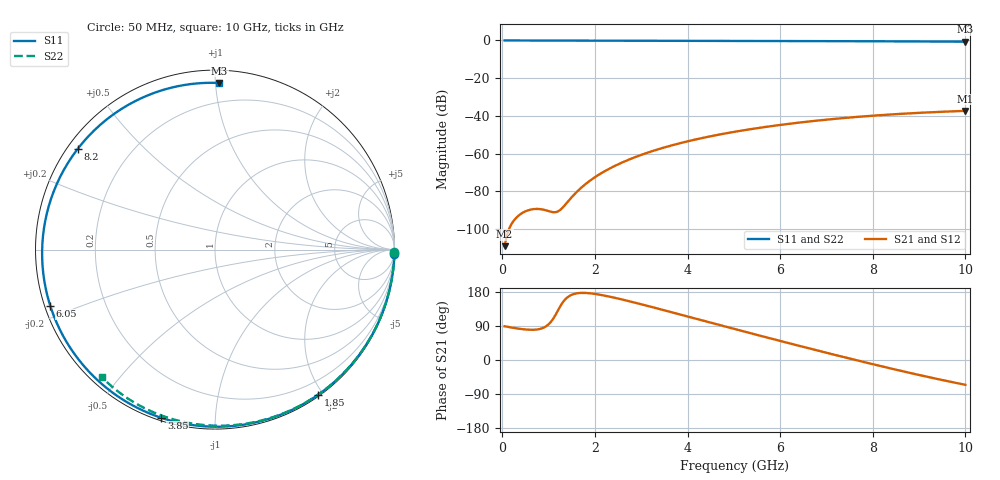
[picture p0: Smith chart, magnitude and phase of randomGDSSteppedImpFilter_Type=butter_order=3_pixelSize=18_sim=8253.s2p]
! freq	dB(S11)	phase(S11)	dB(S12)	phase(S12)
!  dB(S21)	phase(S21)	dB(S22)	phase(S22)
!S-par simulation data
#  GHz  S  DB  R 50
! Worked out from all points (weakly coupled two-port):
!   200 points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, 50 MHz to 10 GHz, reference 50 ohm
!   highest |S21| = -37.35 dB at 10 GHz (marker M1); lowest = -109.2 dB at 50 MHz (marker M2)
!   lowest |S11| = -0.6 dB at 10 GHz (marker M3), VSWR 27.05, Z = 3.79 + j51.2 ohm
!   |S11| at or under -10 dB: nowhere
!   |S22| runs from -0.4 to 0.0 dB; largest |S21 - S12| = 0
!   S11 on the Smith chart (normalised r, x): 50 MHz: 0, -75; 1.85 GHz: 0.02, -1.94; 3.85 GHz: 0.01, -0.73; 6.05 GHz: 0.02, -0.17; 8.2 GHz: 0.03, +0.33; 10 GHz: 0.08, +1.02
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0.05  -0.00 -1.5  -109.16 89.0  -109.16 89.0  -0.00 -0.8
0.8  -0.03 -24.1  -89.45 81.6  -89.45 81.6  -0.02 -12.1
1.6  -0.06 -47.5  -80.56 175.7  -80.56 175.7  -0.03 -24.0
1.75  -0.07 -51.7  -77.17 177.1  -77.17 177.1  -0.03 -26.2
1.85  -0.07 -54.6  -75.20 176.5  -75.20 176.5  -0.04 -27.7
2.15  -0.08 -63.0  -70.25 171.3  -70.25 171.3  -0.04 -32.1
2.5  -0.09 -72.6  -65.74 162.2  -65.74 162.2  -0.05 -37.2
2.9  -0.10 -83.3  -61.62 150.2  -61.62 150.2  -0.06 -42.9
3.4  -0.12 -96.3  -57.49 134.4  -57.49 134.4  -0.07 -49.9
3.85  -0.14 -107.7  -54.44 119.8  -54.44 119.8  -0.08 -56.2
4.45  -0.17 -122.5  -51.08 100.2  -51.08 100.2  -0.09 -64.3
5.05  -0.20 -137.1  -48.32 80.7  -48.32 80.7  -0.11 -72.3
5.55  -0.23 -149.1  -46.36 64.6  -46.36 64.6  -0.13 -78.8
6.05  -0.27 -161.1  -44.67 48.7  -44.67 48.7  -0.15 -85.1
6.7  -0.32 -177.0  -42.78 28.4  -42.78 28.4  -0.18 -93.2
7.45  -0.38 164.0  -41.00 5.4  -41.00 5.4  -0.22 -102.2
8.2  -0.46 143.8  -39.58 -16.9  -39.58 -16.9  -0.28 -111.0
8.35  -0.47 139.6  -39.33 -21.3  -39.33 -21.3  -0.29 -112.8
8.8  -0.52 126.5  -38.67 -34.0  -38.67 -34.0  -0.32 -118.0
9.25  -0.56 112.8  -38.11 -46.3  -38.11 -46.3  -0.37 -123.1
9.65  -0.61 100.1  -37.68 -56.7  -37.68 -56.7  -0.41 -127.6
10  -0.64 88.5  -37.35 -65.5  -37.35 -65.5  -0.44 -131.6
